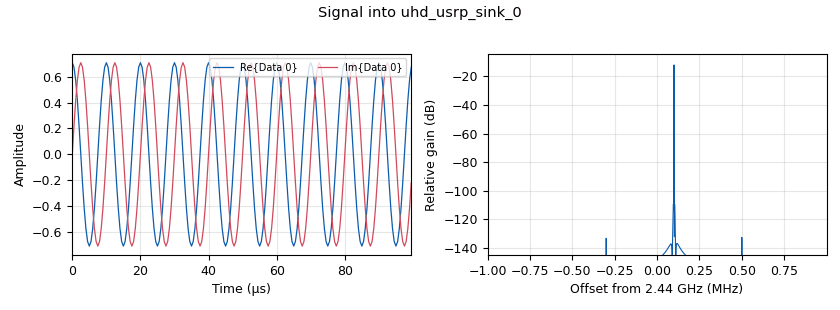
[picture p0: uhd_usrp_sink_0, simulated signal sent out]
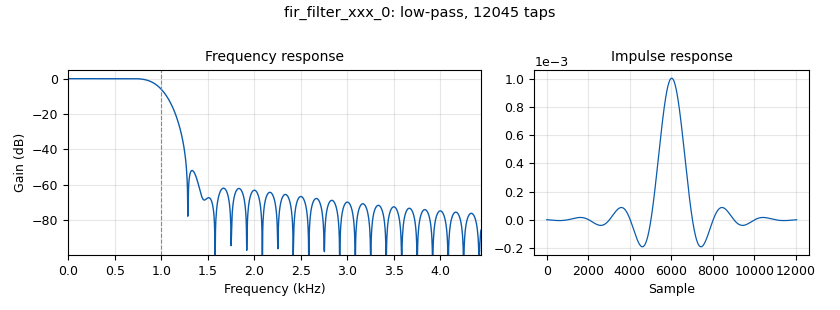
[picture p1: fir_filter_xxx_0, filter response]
options:
  parameters:
    author: Antigravity & User
    description: Coherent Lock-In Dual-Carrier SDR Detection Suite for Passive Backscatter Tags
    generate_options: qt_gui
    id: backscatter_detector_gnuradio
    output_language: python
    title: Backscatter Tag SDR Detection Dashboard (GNU Radio)
  states: {}

blocks:
- name: center_freq
  id: variable_qtgui_chooser
  parameters:
    gui_hint: 0,0,1,1
    label: Operating Mode / Tag Frequency
    label0: 'Mode 1: 2.44 GHz IFA Tag (2440 MHz)'
    label1: 'Mode 2: Sub-1GHz Meander Tag (868 MHz)'
    label2: 'Mode 3: Leggiero Bowtie Tag (2437 MHz)'
    num_opts: '3'
    option0: 2440e6
    option1: 868e6
    option2: 2437e6
    type: real
    value: 2440e6
    widget: radio_buttons
  states: {}
- name: if_freq
  id: variable
  parameters:
    comment: Carrier IF tone (+100 kHz) to avoid AD9361 DC notch
    value: 100e3
  states: {}
- name: rx_gain
  id: variable_qtgui_range
  parameters:
    gui_hint: 0,1,1,1
    label: RX Gain (dB)
    start: '0'
    step: '1'
    stop: '76'
    value: '50'
    widget: slider
  states: {}
- name: tx_gain
  id: variable_qtgui_range
  parameters:
    gui_hint: 0,2,1,1
    label: TX Gain (dB)
    start: '0'
    step: '1'
    stop: '89'
    value: '60'
    widget: slider
  states: {}
- name: samp_rate
  id: variable
  parameters:
    value: 2e6
  states: {}
- name: decim
  id: variable
  parameters:
    value: '200'
  states: {}
- name: lpf_taps
  id: variable_low_pass_filter_taps
  parameters:
    cutoff_freq: '1000'
    gain: '1.0'
    samp_rate: samp_rate
    width: '400'
    win: window.WIN_HAMMING
  states: {}
- name: analog_sig_source_tx
  id: analog_sig_source_x
  parameters:
    amp: '0.707'
    comment: Synthesizes +100 kHz pure carrier IF tone
    freq: if_freq
    offset: '0'
    phase: '0'
    samp_rate: samp_rate
    type: complex
    waveform: analog.GR_COS_WAVE
  states: {}
- name: uhd_usrp_sink_0
  id: uhd_usrp_sink
  parameters:
    ant0: '"TX/RX"'
    center_freq0: center_freq
    dev_addr: '"type=b200"'
    dev_args: '""'
    gain0: tx_gain
    otw: sc16
    samp_rate: samp_rate
    sd_spec0: '""'
    stream_args: '""'
    sync: sync
    type: fc32
  states: {}
- name: uhd_usrp_source_0
  id: uhd_usrp_source
  parameters:
    ant0: '"RX2"'
    center_freq0: center_freq
    dev_addr: '"type=b200"'
    dev_args: '""'
    gain0: rx_gain
    otw: sc16
    rx_agc0: Disabled
    samp_rate: samp_rate
    sd_spec0: '""'
    stream_args: '""'
    sync: sync
    type: fc32
  states: {}
- name: analog_sig_source_ref
  id: analog_sig_source_x
  parameters:
    amp: '1.0'
    comment: Conjugate tone exp(-j*w*t) for coherent lock-in demodulation
    freq: '-if_freq'
    offset: '0'
    phase: '0'
    samp_rate: samp_rate
    type: complex
    waveform: analog.GR_COS_WAVE
  states: {}
- name: blocks_multiply_xx_0
  id: blocks_multiply_xx
  parameters:
    comment: Mixes RX carrier down to exact 0 Hz DC baseband
    type: complex
  states: {}
- name: fir_filter_xxx_0
  id: fir_filter_xxx
  parameters:
    comment: Decimating Low-Pass Filter (bandwidth=1kHz, rejects clutter & noise)
    decim: decim
    taps: lpf_taps
    type: ccf
  states: {}
- name: blocks_complex_to_mag_squared_0
  id: blocks_complex_to_mag_squared
  parameters:
    comment: Linear power computation |V|^2
  states: {}
- name: blocks_nlog10_ff_0
  id: blocks_nlog10_ff
  parameters:
    comment: Power in dBFS = 10*log10(|V|^2)
    k: '0'
    n: '10'
  states: {}
- name: qtgui_time_sink_x_power
  id: qtgui_time_sink_x
  parameters:
    color1: cyan
    entags: 'False'
    grid: 'True'
    gui_hint: 1,0,1,2
    label1: Demodulated Power Prx(t)
    name: '"Demodulated Backscatter Power Strip Chart (dBFS)"'
    size: '1000'
    srate: samp_rate / decim
    type: float
    update_time: '0.05'
    width1: '2'
    ylabel: Power (dBFS)
    ymax: '-10'
    ymin: '-90'
  states: {}
- name: qtgui_const_sink_x_0
  id: qtgui_const_sink_x
  parameters:
    alpha1: '0.8'
    color1: cyan
    grid: 'True'
    gui_hint: 2,0,1,1
    label1: Demodulated I/Q Vector
    name: '"Demodulated Backscatter I/Q Constellation"'
    size: '200'
    type: complex
    update_time: '0.05'
    xmax: '0.1'
    xmin: '-0.1'
    ymax: '0.1'
    ymin: '-0.1'
  states: {}
- name: qtgui_freq_sink_x_0
  id: qtgui_freq_sink_x
  parameters:
    average: '0.2'
    bw: samp_rate
    color1: magenta
    fc: '0'
    fftsize: '1024'
    grid: 'True'
    gui_hint: 2,1,1,1
    label1: Raw RX Spectrum (Tone at +100 kHz)
    name: '"Raw RF Spectrum across RX2 Channel"'
    norm_type: qtgui.FLOAT_NORM
    type: complex
    update_time: '0.05'
    ymax: '-20'
    ymin: '-100'
  states: {}

connections:
- [analog_sig_source_tx, '0', uhd_usrp_sink_0, '0']
- [uhd_usrp_source_0, '0', blocks_multiply_xx_0, '0']
- [uhd_usrp_source_0, '0', qtgui_freq_sink_x_0, '0']
- [analog_sig_source_ref, '0', blocks_multiply_xx_0, '1']
- [blocks_multiply_xx_0, '0', fir_filter_xxx_0, '0']
- [fir_filter_xxx_0, '0', blocks_complex_to_mag_squared_0, '0']
- [fir_filter_xxx_0, '0', qtgui_const_sink_x_0, '0']
- [blocks_complex_to_mag_squared_0, '0', blocks_nlog10_ff_0, '0']
- [blocks_nlog10_ff_0, '0', qtgui_time_sink_x_power, '0']

metadata:
  file_format: 1
  grc_version: 3.10.12.0
